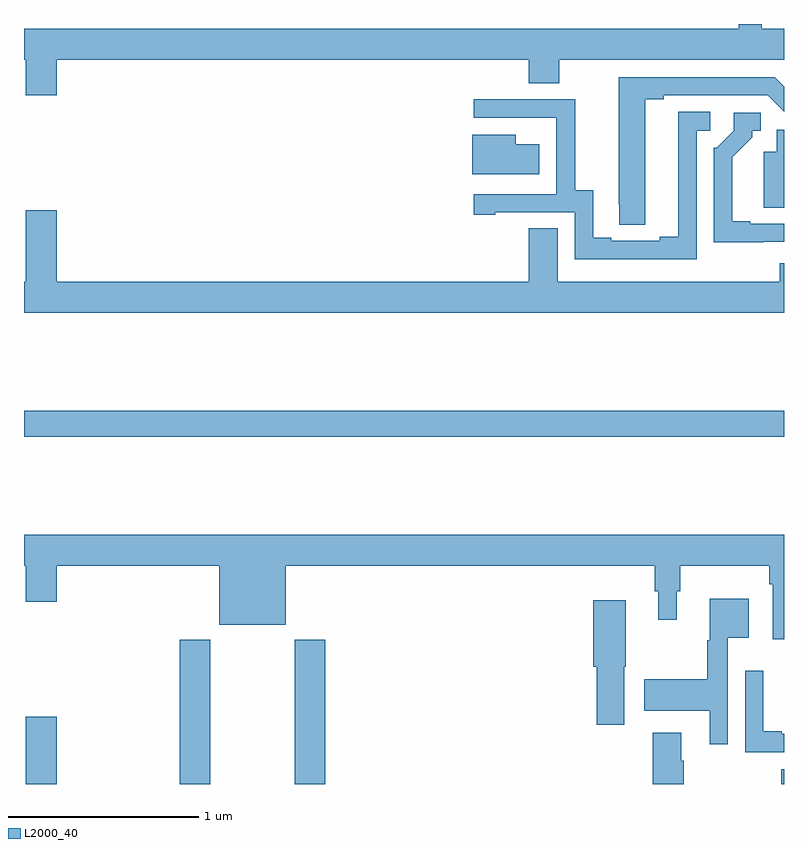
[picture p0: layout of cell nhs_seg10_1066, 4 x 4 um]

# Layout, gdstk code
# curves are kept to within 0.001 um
import gdstk
lib = gdstk.Library(unit=1e-6, precision=1e-09)
def R(c, l, rs):  # rectangles x0, y0, x1, y1
    for r in rs: c.add(gdstk.rectangle(r[:2], r[2:], *l))
def P(c, l, *ps):  # polygons
    for p in ps: c.add(gdstk.Polygon(p, *l))
L2000_40 = (2000, 40)

nhs_seg10_1066 = lib.new_cell('nhs_seg10_1066')
R(nhs_seg10_1066, L2000_40, [(165.008,1300.5,165.172,1300.855), (165.821,1300.5,165.981,1301.26), (166.426,1300.5,166.586,1301.26), (168.986,1300.5,169,1300.578), (165,1302.328,169,1302.464)])
P(nhs_seg10_1066, L2000_40, [(165.172,1304.312),(167.657,1304.312),(167.657,1304.188),(167.817,1304.188),(167.817,1304.312),(169,1304.312),(169,1304.476),(168.882,1304.476),(168.882,1304.5),(168.763,1304.5),(168.763,1304.476),(165,1304.476),(165,1304.312),(165.008,1304.312),(165.008,1304.124),(165.172,1304.124)],
  [(168.271,1304.104),(168.367,1304.104),(168.367,1304.124),(168.915,1304.124),(169,1304.039),(169,1304.171),(168.951,1304.22),(168.131,1304.22),(168.131,1303.552),(168.132,1303.552),(168.132,1303.444),(168.271,1303.444)],
  [(168.54,1303.938),(168.613,1303.938),(168.613,1304.039),(168.443,1304.039),(168.443,1303.379),(168.347,1303.379),(168.347,1303.359),(168.091,1303.359),(168.091,1303.374),(167.995,1303.374),(167.995,1303.625),(167.901,1303.625),(167.901,1304.103),(167.367,1304.103),(167.367,1304.007),(167.801,1304.007),(167.801,1304.006),(167.802,1304.006),(167.802,1303.605),(167.367,1303.605),(167.367,1303.497),(167.479,1303.497),(167.479,1303.509),(167.898,1303.509),(167.898,1303.263),(168.54,1303.263)],
  [(168.893,1303.353),(169,1303.353),(169,1303.449),(168.823,1303.449),(168.823,1303.462),(168.727,1303.462),(168.727,1303.798),(168.832,1303.903),(168.832,1303.938),(168.877,1303.938),(168.877,1304.034),(168.735,1304.034),(168.735,1303.938),(168.645,1303.848),(168.63,1303.848),(168.63,1303.352)],
  [(169,1303.943),(168.962,1303.943),(168.962,1303.828),(168.893,1303.828),(168.893,1303.534),(169,1303.534)],
  [(167.713,1303.867),(167.587,1303.867),(167.587,1303.918),(167.36,1303.918),(167.36,1303.709),(167.713,1303.709)],
  [(169,1303.242),(168.977,1303.242),(168.977,1303.144),(167.809,1303.144),(167.809,1303.424),(167.657,1303.424),(167.657,1303.144),(165.172,1303.144),(165.172,1303.519),(165.008,1303.519),(165.008,1303.144),(165,1303.144),(165,1302.98),(169,1302.98)],
  [(169,1301.812),(165,1301.812),(165,1301.648),(165.008,1301.648),(165.008,1301.46),(165.172,1301.46),(165.172,1301.648),(166.028,1301.648),(166.028,1301.339),(166.378,1301.339),(166.378,1301.648),(168.319,1301.648),(168.319,1301.514),(168.338,1301.514),(168.338,1301.364),(168.436,1301.364),(168.436,1301.514),(168.455,1301.514),(168.455,1301.648),(168.922,1301.648),(168.922,1301.552),(168.942,1301.552),(168.942,1301.262),(169,1301.262)],
  [(168.705,1301.27),(168.814,1301.27),(168.814,1301.476),(168.608,1301.476),(168.608,1301.256),(168.597,1301.256),(168.597,1301.052),(168.264,1301.052),(168.264,1300.886),(168.608,1300.886),(168.608,1300.71),(168.705,1300.71)],
  [(168.16,1301.118),(168.166,1301.118),(168.166,1301.467),(167.996,1301.467),(167.996,1301.118),(168.014,1301.118),(168.014,1300.812),(168.16,1300.812)],
  [(169,1300.764),(168.988,1300.764),(168.988,1300.777),(168.892,1300.777),(168.892,1301.095),(168.795,1301.095),(168.795,1300.668),(169,1300.668)],
  [(168.473,1300.622),(168.46,1300.622),(168.46,1300.771),(168.308,1300.771),(168.308,1300.5),(168.473,1300.5)])

lib.write_gds('nhs_seg10_1066.gds')
